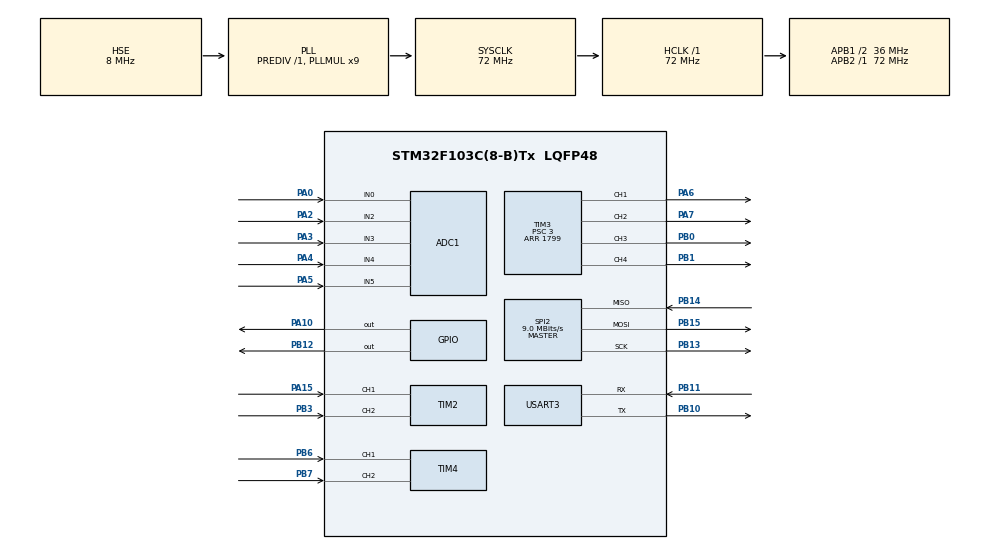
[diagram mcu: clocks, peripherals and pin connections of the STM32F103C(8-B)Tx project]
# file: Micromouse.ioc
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ADC1.Channel-0\#ChannelRegularConversion=ADC_CHANNEL_0
ADC1.Channel-1\#ChannelRegularConversion=ADC_CHANNEL_2
ADC1.Channel-2\#ChannelRegularConversion=ADC_CHANNEL_3
ADC1.Channel-3\#ChannelRegularConversion=ADC_CHANNEL_4
ADC1.Channel-4\#ChannelRegularConversion=ADC_CHANNEL_0
ADC1.NbrOfConversion=5
ADC1.NbrOfConversionFlag=1
ADC1.Rank-0\#ChannelRegularConversion=1
ADC1.Rank-1\#ChannelRegularConversion=2
ADC1.Rank-2\#ChannelRegularConversion=3
ADC1.Rank-3\#ChannelRegularConversion=4
ADC1.Rank-4\#ChannelRegularConversion=5
ADC1.SamplingTime-0\#ChannelRegularConversion=ADC_SAMPLETIME_239CYCLES_5
ADC1.SamplingTime-1\#ChannelRegularConversion=ADC_SAMPLETIME_71CYCLES_5
ADC1.SamplingTime-2\#ChannelRegularConversion=ADC_SAMPLETIME_71CYCLES_5
ADC1.SamplingTime-3\#ChannelRegularConversion=ADC_SAMPLETIME_71CYCLES_5
ADC1.SamplingTime-4\#ChannelRegularConversion=ADC_SAMPLETIME_71CYCLES_5
ADC1.master=1
Mcu.Family=STM32F1
Mcu.Name=STM32F103C(8-B)Tx
Mcu.Package=LQFP48
NVIC.PriorityGroup=NVIC_PRIORITYGROUP_4
NVIC.TIM1_UP_IRQn=true\:2\:0\:true\:false\:true\:true\:true\:true
PA0-WKUP.Signal=ADCx_IN0
PA10.Signal=GPIO_Output
PA13.Mode=Serial_Wire
PA13.Signal=SYS_JTMS-SWDIO
PA14.Mode=Serial_Wire
PA14.Signal=SYS_JTCK-SWCLK
PA15.GPIO_PuPd=GPIO_PULLUP
PA15.Signal=S_TIM2_CH1_ETR
PA2.Signal=ADCx_IN2
PA3.Signal=ADCx_IN3
PA4.Signal=ADCx_IN4
PA5.Signal=ADCx_IN5
PA6.Signal=S_TIM3_CH1
PA7.Signal=S_TIM3_CH2
PB0.Signal=S_TIM3_CH3
PB1.Signal=S_TIM3_CH4
PB10.Mode=Asynchronous
PB10.Signal=USART3_TX
PB11.Mode=Asynchronous
PB11.Signal=USART3_RX
PB12.Signal=GPIO_Output
PB13.Mode=Full_Duplex_Master
PB13.Signal=SPI2_SCK
PB14.Mode=Full_Duplex_Master
PB14.Signal=SPI2_MISO
PB15.Mode=Full_Duplex_Master
PB15.Signal=SPI2_MOSI
PB3.GPIO_PuPd=GPIO_PULLUP
PB3.Signal=S_TIM2_CH2
PB6.GPIO_PuPd=GPIO_PULLUP
PB6.Signal=S_TIM4_CH1
PB7.GPIO_PuPd=GPIO_PULLUP
PB7.Signal=S_TIM4_CH2
PD0-OSC_IN.Mode=HSE-External-Oscillator
PD0-OSC_IN.Signal=RCC_OSC_IN
PD1-OSC_OUT.Mode=HSE-External-Oscillator
PD1-OSC_OUT.Signal=RCC_OSC_OUT
ProjectManager.HeapSize=0x200
ProjectManager.StackSize=0x400
ProjectManager.TargetToolchain=MDK-ARM V5.32
RCC.ADCPresc=RCC_ADCPCLK2_DIV8
RCC.AHBFreq_Value=72000000
RCC.APB1CLKDivider=RCC_HCLK_DIV2
RCC.APB1Freq_Value=36000000
RCC.APB1TimFreq_Value=72000000
RCC.APB2Freq_Value=72000000
RCC.APB2TimFreq_Value=72000000
RCC.HCLKFreq_Value=72000000
RCC.PLLMUL=RCC_PLL_MUL9
RCC.PLLSourceVirtual=RCC_PLLSOURCE_HSE
RCC.SYSCLKFreq_VALUE=72000000
RCC.SYSCLKSource=RCC_SYSCLKSOURCE_PLLCLK
RCC.USBFreq_Value=72000000
SH.ADCx_IN0.0=ADC1_IN0,IN0
SH.ADCx_IN2.0=ADC1_IN2,IN2
SH.ADCx_IN3.0=ADC1_IN3,IN3
SH.ADCx_IN4.0=ADC1_IN4,IN4
SH.ADCx_IN5.0=ADC1_IN5,IN5
SH.S_TIM2_CH1_ETR.0=TIM2_CH1,Encoder_Interface
SH.S_TIM2_CH2.0=TIM2_CH2,Encoder_Interface
SH.S_TIM3_CH1.0=TIM3_CH1,PWM Generation1 CH1
SH.S_TIM3_CH2.0=TIM3_CH2,PWM Generation2 CH2
SH.S_TIM3_CH3.0=TIM3_CH3,PWM Generation3 CH3
SH.S_TIM3_CH4.0=TIM3_CH4,PWM Generation4 CH4
SH.S_TIM4_CH1.0=TIM4_CH1,Encoder_Interface
SH.S_TIM4_CH2.0=TIM4_CH2,Encoder_Interface
SPI2.BaudRatePrescaler=SPI_BAUDRATEPRESCALER_4
SPI2.CalculateBaudRate=9.0 MBits/s
SPI2.Direction=SPI_DIRECTION_2LINES
SPI2.Mode=SPI_MODE_MASTER
SPI2.VirtualType=VM_MASTER
TIM1.Period=999
TIM1.Prescaler=71
TIM2.EncoderMode=TIM_ENCODERMODE_TI12
TIM3.Channel-PWM\ Generation1\ CH1=TIM_CHANNEL_1
TIM3.Channel-PWM\ Generation2\ CH2=TIM_CHANNEL_2
TIM3.Channel-PWM\ Generation3\ CH3=TIM_CHANNEL_3
TIM3.Channel-PWM\ Generation4\ CH4=TIM_CHANNEL_4
TIM3.Period=1799
TIM3.Prescaler=3
TIM4.EncoderMode=TIM_ENCODERMODE_TI12
USART3.VirtualMode=VM_ASYNC
VP_TIM1_VS_ClockSourceINT.Mode=Internal
VP_TIM3_VS_ClockSourceINT.Mode=Internal
board=custom

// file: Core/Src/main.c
/* USER CODE BEGIN Header */
/**
  ******************************************************************************
  * @file           : main.c
  * @brief          : Main program body
  ******************************************************************************
  * @attention
  *
  * Copyright (c) 2026 STMicroelectronics.
  * All rights reserved.
  *
  * This software is licensed under terms that can be found in the LICENSE file
  * in the root directory of this software component.
  * If no LICENSE file comes with this software, it is provided AS-IS.
  *
  ******************************************************************************
  */
/* USER CODE END Header */
#include "main.h"

/* USER CODE BEGIN PM */
#define PWM_MAX     1799
#define PWM_MIN     200
#define SLOW_ZONE   300
#define STOP_EPS    20
#define Kp          26.7
#define Ki          0.25
#define Kd         0.000015
#define ONE_CELL    1450
#define CLAMP(x,min,max) ((x)<(min)?(min):((x)>(max)?(max):(x)))

/* USER CODE END PM */

ADC_HandleTypeDef hadc1;

SPI_HandleTypeDef hspi2;

TIM_HandleTypeDef htim1;
TIM_HandleTypeDef htim2;
TIM_HandleTypeDef htim3;
TIM_HandleTypeDef htim4;

UART_HandleTypeDef huart3;

/* USER CODE BEGIN PV */

volatile int16_t pwm_left = 0;
volatile int16_t pwm_right = 0;
volatile int16_t pwm_base = 1500;
volatile int32_t diff;

/* USER CODE END PV */

void SystemClock_Config(void);
static void MX_GPIO_Init(void);
static void MX_TIM3_Init(void);
static void MX_TIM1_Init(void);
static void MX_TIM2_Init(void);
static void MX_TIM4_Init(void);
static void MX_SPI2_Init(void);
static void MX_ADC1_Init(void);
static void MX_USART3_UART_Init(void);

/* USER CODE BEGIN 0 */

//PWM BEGIN
void Motor_Init()
{
    HAL_TIM_PWM_Start(&htim3,TIM_CHANNEL_1);
    HAL_TIM_PWM_Start(&htim3,TIM_CHANNEL_2);
    HAL_TIM_PWM_Start(&htim3,TIM_CHANNEL_3);
    HAL_TIM_PWM_Start(&htim3,TIM_CHANNEL_4);
}

void Motor_Left(int16_t ccrL)
{

    if(ccrL>0)
    {
        htim3.Instance->CCR1 = 0;
        htim3.Instance->CCR2 = ccrL;
    }
    else if(ccrL<0)
    {
        htim3.Instance->CCR1 = -ccrL;
        htim3.Instance->CCR2 = 0;
    }
    else
    {
        htim3.Instance->CCR1 = 1;
        htim3.Instance->CCR2 = 1;
    }
}

void Motor_Right(int16_t ccrR)
{

    if(ccrR>0)
    {
        htim3.Instance->CCR3 = 0;
        htim3.Instance->CCR4 = ccrR;
    }
    else if(ccrR<0)
    {
        htim3.Instance->CCR3 = -ccrR;
        htim3.Instance->CCR4 = 0;
    }
    else
    {
        htim3.Instance->CCR3 = 1;
        htim3.Instance->CCR4 = 1;
    }
}
//PWM END

// MPU 9250 BEGIN

//TIMER INTERUPT PID + MPU
	void HAL_TIM_PeriodElapsedCallback(TIM_HandleTypeDef *htim)
{
    if(htim->Instance == TIM1)
    {
        MPU_Update();
			  Update_Encoder();
    }
}
//MOVE
/*void Move_One_Cell(int32_t target_ticks, int16_t initial_pwm)
{
    int16_t pwm_base = CLAMP(initial_pwm, PWM_MIN, PWM_MAX);
    // Reset encoder
    __HAL_TIM_SET_COUNTER(&htim2, 0);
    __HAL_TIM_SET_COUNTER(&htim4, 0);
    int32_t encoder_left_last= 0;
		int32_t encoder_right_last= 0;

    while (1)
    {
        // ===== �?C ENCODER =====
			  int32_t encoder_left= Get_Encoder_Left();
				int32_t encoder_right= Get_Encoder_Right();
        total_encoder_left  += encoder_left - encoder_left_last;
        total_encoder_right += encoder_right - encoder_right_last;
	      encoder_left_last = encoder_left;
				encoder_right_last = encoder_right;

        int32_t delta_left  = target_ticks - total_encoder_left;   // ? int32_t
        int32_t delta_right = target_ticks - total_encoder_right;  // ? int32_t

        // ===== KI?M TRA �I?U KI?N D?NG =====
        if ((delta_left) <= STOP_EPS && delta_right <= (STOP_EPS))
        {
            Motor_Left(0);
            Motor_Right(0);
            break;
        }

        // ===== T�NH PWM CO B?N (GI?M T?C KHI G?N ��CH) =====
        int32_t min_delta = (delta_left < delta_right) ? delta_left : delta_right;

        if (min_delta < SLOW_ZONE)
        {
            pwm_base = PWM_MIN + ((initial_pwm - PWM_MIN) * min_delta) / SLOW_ZONE;
        }
        else
        {
            pwm_base = initial_pwm;
        }

        pwm_base = CLAMP(pwm_base, PWM_MIN, PWM_MAX);

        // ===== CH?NH TH?NG (ENCODER BALANCE) =====
				float error = 0.0f - angle_x;
				float last_error = 0;
				float integral = 0;
			  float derivative = 0;
				integral	+= error * 0.001f;
				derivative = (error - last_error) / 0.001f;

				float correction = Kp*error + Ki*integral + Kd*derivative;

				last_error = error;
			  pwm_left = pwm_base - correction;
			  pwm_right = pwm_base + correction;

				pwm_left = CLAMP(pwm_left, PWM_MIN, PWM_MAX);
				pwm_right = CLAMP(pwm_right, PWM_MIN, PWM_MAX);
        // ===== XU?T RA �?NG CO =====
        Motor_Left(pwm_left);
        Motor_Right(pwm_right);

        HAL_Delay(5);
    }

    // Reset encoder sau khi ch?y xong
    __HAL_TIM_SET_COUNTER(&htim2, 0);
    __HAL_TIM_SET_COUNTER(&htim4, 0);
}*/

/* USER CODE END 0 */

int main(void)
{

  /* MCU Configuration--------------------------------------------------------*/

  /* Reset of all peripherals, Initializes the Flash interface and the Systick. */
  HAL_Init();

  /* Configure the system clock */
  SystemClock_Config();

  /* Initialize all configured peripherals */
  MX_GPIO_Init();
  MX_TIM3_Init();
  MX_TIM1_Init();
  MX_TIM2_Init();
  MX_TIM4_Init();
  MX_SPI2_Init();
  MX_ADC1_Init();
  MX_USART3_UART_Init();
  /* USER CODE BEGIN 2 */
	Motor_Init();
	Encoder_Init();
	MPU_Init();
	HAL_GPIO_WritePin(GPIOB, GPIO_PIN_12, 1);
	MPU_Calibrate();
	HAL_TIM_Base_Start_IT(&htim1);
  /* USER CODE END 2 */

  /* Infinite loop */
  while (1)
  {

  }
}

void SystemClock_Config(void)
{
  RCC_OscInitTypeDef RCC_OscInitStruct = {0};
  RCC_ClkInitTypeDef RCC_ClkInitStruct = {0};
  RCC_PeriphCLKInitTypeDef PeriphClkInit = {0};

  /** Initializes the RCC Oscillators according to the specified parameters
  * in the RCC_OscInitTypeDef structure.
  */
  RCC_OscInitStruct.OscillatorType = RCC_OSCILLATORTYPE_HSE;
  RCC_OscInitStruct.HSEState = RCC_HSE_ON;
  RCC_OscInitStruct.HSEPredivValue = RCC_HSE_PREDIV_DIV1;
  RCC_OscInitStruct.HSIState = RCC_HSI_ON;
  RCC_OscInitStruct.PLL.PLLState = RCC_PLL_ON;
  RCC_OscInitStruct.PLL.PLLSource = RCC_PLLSOURCE_HSE;
  RCC_OscInitStruct.PLL.PLLMUL = RCC_PLL_MUL9;
  if (HAL_RCC_OscConfig(&RCC_OscInitStruct) != HAL_OK)
  {
    Error_Handler();
  }

  /** Initializes the CPU, AHB and APB buses clocks
  */
  RCC_ClkInitStruct.ClockType = RCC_CLOCKTYPE_HCLK|RCC_CLOCKTYPE_SYSCLK
                              |RCC_CLOCKTYPE_PCLK1|RCC_CLOCKTYPE_PCLK2;
  RCC_ClkInitStruct.SYSCLKSource = RCC_SYSCLKSOURCE_PLLCLK;
  RCC_ClkInitStruct.AHBCLKDivider = RCC_SYSCLK_DIV1;
  RCC_ClkInitStruct.APB1CLKDivider = RCC_HCLK_DIV2;
  RCC_ClkInitStruct.APB2CLKDivider = RCC_HCLK_DIV1;

  if (HAL_RCC_ClockConfig(&RCC_ClkInitStruct, FLASH_LATENCY_2) != HAL_OK)
  {
    Error_Handler();
  }
  PeriphClkInit.PeriphClockSelection = RCC_PERIPHCLK_ADC;
  PeriphClkInit.AdcClockSelection = RCC_ADCPCLK2_DIV8;
  if (HAL_RCCEx_PeriphCLKConfig(&PeriphClkInit) != HAL_OK)
  {
    Error_Handler();
  }
}

static void MX_ADC1_Init(void)
{

  ADC_ChannelConfTypeDef sConfig = {0};

  /** Common config
  */
  hadc1.Instance = ADC1;
  hadc1.Init.ScanConvMode = ADC_SCAN_ENABLE;
  hadc1.Init.ContinuousConvMode = DISABLE;
  hadc1.Init.DiscontinuousConvMode = DISABLE;
  hadc1.Init.ExternalTrigConv = ADC_SOFTWARE_START;
  hadc1.Init.DataAlign = ADC_DATAALIGN_RIGHT;
  hadc1.Init.NbrOfConversion = 5;
  if (HAL_ADC_Init(&hadc1) != HAL_OK)
  {
    Error_Handler();
  }

  /** Configure Regular Channel
  */
  sConfig.Channel = ADC_CHANNEL_0;
  sConfig.Rank = ADC_REGULAR_RANK_1;
  sConfig.SamplingTime = ADC_SAMPLETIME_239CYCLES_5;
  if (HAL_ADC_ConfigChannel(&hadc1, &sConfig) != HAL_OK)
  {
    Error_Handler();
  }

  /** Configure Regular Channel
  */
  sConfig.Channel = ADC_CHANNEL_2;
  sConfig.Rank = ADC_REGULAR_RANK_2;
  sConfig.SamplingTime = ADC_SAMPLETIME_71CYCLES_5;
  if (HAL_ADC_ConfigChannel(&hadc1, &sConfig) != HAL_OK)
  {
    Error_Handler();
  }

  /** Configure Regular Channel
  */
  sConfig.Channel = ADC_CHANNEL_3;
  sConfig.Rank = ADC_REGULAR_RANK_3;
  if (HAL_ADC_ConfigChannel(&hadc1, &sConfig) != HAL_OK)
  {
    Error_Handler();
  }

  /** Configure Regular Channel
  */
  sConfig.Channel = ADC_CHANNEL_4;
  sConfig.Rank = ADC_REGULAR_RANK_4;
  if (HAL_ADC_ConfigChannel(&hadc1, &sConfig) != HAL_OK)
  {
    Error_Handler();
  }

  /** Configure Regular Channel
  */
  sConfig.Channel = ADC_CHANNEL_0;
  sConfig.Rank = ADC_REGULAR_RANK_5;
  if (HAL_ADC_ConfigChannel(&hadc1, &sConfig) != HAL_OK)
  {
    Error_Handler();
  }

}

static void MX_SPI2_Init(void)
{

  /* SPI2 parameter configuration*/
  hspi2.Instance = SPI2;
  hspi2.Init.Mode = SPI_MODE_MASTER;
  hspi2.Init.Direction = SPI_DIRECTION_2LINES;
  hspi2.Init.DataSize = SPI_DATASIZE_8BIT;
  hspi2.Init.CLKPolarity = SPI_POLARITY_LOW;
  hspi2.Init.CLKPhase = SPI_PHASE_1EDGE;
  hspi2.Init.NSS = SPI_NSS_SOFT;
  hspi2.Init.BaudRatePrescaler = SPI_BAUDRATEPRESCALER_4;
  hspi2.Init.FirstBit = SPI_FIRSTBIT_MSB;
  hspi2.Init.TIMode = SPI_TIMODE_DISABLE;
  hspi2.Init.CRCCalculation = SPI_CRCCALCULATION_DISABLE;
  hspi2.Init.CRCPolynomial = 10;
  if (HAL_SPI_Init(&hspi2) != HAL_OK)
  {
    Error_Handler();
  }

}

static void MX_TIM1_Init(void)
{

  TIM_ClockConfigTypeDef sClockSourceConfig = {0};
  TIM_MasterConfigTypeDef sMasterConfig = {0};

  htim1.Instance = TIM1;
  htim1.Init.Prescaler = 71;
  htim1.Init.CounterMode = TIM_COUNTERMODE_UP;
  htim1.Init.Period = 999;
  htim1.Init.ClockDivision = TIM_CLOCKDIVISION_DIV1;
  htim1.Init.RepetitionCounter = 0;
  htim1.Init.AutoReloadPreload = TIM_AUTORELOAD_PRELOAD_DISABLE;
  if (HAL_TIM_Base_Init(&htim1) != HAL_OK)
  {
    Error_Handler();
  }
  sClockSourceConfig.ClockSource = TIM_CLOCKSOURCE_INTERNAL;
  if (HAL_TIM_ConfigClockSource(&htim1, &sClockSourceConfig) != HAL_OK)
  {
    Error_Handler();
  }
  sMasterConfig.MasterOutputTrigger = TIM_TRGO_RESET;
  sMasterConfig.MasterSlaveMode = TIM_MASTERSLAVEMODE_DISABLE;
  if (HAL_TIMEx_MasterConfigSynchronization(&htim1, &sMasterConfig) != HAL_OK)
  {
    Error_Handler();
  }

}

static void MX_TIM2_Init(void)
{

  TIM_Encoder_InitTypeDef sConfig = {0};
  TIM_MasterConfigTypeDef sMasterConfig = {0};

  htim2.Instance = TIM2;
  htim2.Init.Prescaler = 0;
  htim2.Init.CounterMode = TIM_COUNTERMODE_UP;
  htim2.Init.Period = 65535;
  htim2.Init.ClockDivision = TIM_CLOCKDIVISION_DIV1;
  htim2.Init.AutoReloadPreload = TIM_AUTORELOAD_PRELOAD_DISABLE;
  sConfig.EncoderMode = TIM_ENCODERMODE_TI12;
  sConfig.IC1Polarity = TIM_ICPOLARITY_RISING;
  sConfig.IC1Selection = TIM_ICSELECTION_DIRECTTI;
  sConfig.IC1Prescaler = TIM_ICPSC_DIV1;
  sConfig.IC1Filter = 0;
  sConfig.IC2Polarity = TIM_ICPOLARITY_RISING;
  sConfig.IC2Selection = TIM_ICSELECTION_DIRECTTI;
  sConfig.IC2Prescaler = TIM_ICPSC_DIV1;
  sConfig.IC2Filter = 0;
  if (HAL_TIM_Encoder_Init(&htim2, &sConfig) != HAL_OK)
  {
    Error_Handler();
  }
  sMasterConfig.MasterOutputTrigger = TIM_TRGO_RESET;
  sMasterConfig.MasterSlaveMode = TIM_MASTERSLAVEMODE_DISABLE;
  if (HAL_TIMEx_MasterConfigSynchronization(&htim2, &sMasterConfig) != HAL_OK)
  {
    Error_Handler();
  }

}

static void MX_TIM3_Init(void)
{

  TIM_ClockConfigTypeDef sClockSourceConfig = {0};
  TIM_MasterConfigTypeDef sMasterConfig = {0};
  TIM_OC_InitTypeDef sConfigOC = {0};

  htim3.Instance = TIM3;
  htim3.Init.Prescaler = 3;
  htim3.Init.CounterMode = TIM_COUNTERMODE_UP;
  htim3.Init.Period = 1799;
  htim3.Init.ClockDivision = TIM_CLOCKDIVISION_DIV1;
  htim3.Init.AutoReloadPreload = TIM_AUTORELOAD_PRELOAD_DISABLE;
  if (HAL_TIM_Base_Init(&htim3) != HAL_OK)
  {
    Error_Handler();
  }
  sClockSourceConfig.ClockSource = TIM_CLOCKSOURCE_INTERNAL;
  if (HAL_TIM_ConfigClockSource(&htim3, &sClockSourceConfig) != HAL_OK)
  {
    Error_Handler();
  }
  if (HAL_TIM_PWM_Init(&htim3) != HAL_OK)
  {
    Error_Handler();
  }
  sMasterConfig.MasterOutputTrigger = TIM_TRGO_RESET;
  sMasterConfig.MasterSlaveMode = TIM_MASTERSLAVEMODE_DISABLE;
  if (HAL_TIMEx_MasterConfigSynchronization(&htim3, &sMasterConfig) != HAL_OK)
  {
    Error_Handler();
  }
  sConfigOC.OCMode = TIM_OCMODE_PWM1;
  sConfigOC.Pulse = 0;
  sConfigOC.OCPolarity = TIM_OCPOLARITY_HIGH;
  sConfigOC.OCFastMode = TIM_OCFAST_DISABLE;
  if (HAL_TIM_PWM_ConfigChannel(&htim3, &sConfigOC, TIM_CHANNEL_1) != HAL_OK)
  {
    Error_Handler();
  }
  if (HAL_TIM_PWM_ConfigChannel(&htim3, &sConfigOC, TIM_CHANNEL_2) != HAL_OK)
  {
    Error_Handler();
  }
  if (HAL_TIM_PWM_ConfigChannel(&htim3, &sConfigOC, TIM_CHANNEL_3) != HAL_OK)
  {
    Error_Handler();
  }
  if (HAL_TIM_PWM_ConfigChannel(&htim3, &sConfigOC, TIM_CHANNEL_4) != HAL_OK)
  {
    Error_Handler();
  }
  HAL_TIM_MspPostInit(&htim3);

}

static void MX_TIM4_Init(void)
{

  TIM_Encoder_InitTypeDef sConfig = {0};
  TIM_MasterConfigTypeDef sMasterConfig = {0};

  htim4.Instance = TIM4;
  htim4.Init.Prescaler = 0;
  htim4.Init.CounterMode = TIM_COUNTERMODE_UP;
  htim4.Init.Period = 65535;
  htim4.Init.ClockDivision = TIM_CLOCKDIVISION_DIV1;
  htim4.Init.AutoReloadPreload = TIM_AUTORELOAD_PRELOAD_DISABLE;
  sConfig.EncoderMode = TIM_ENCODERMODE_TI12;
  sConfig.IC1Polarity = TIM_ICPOLARITY_RISING;
  sConfig.IC1Selection = TIM_ICSELECTION_DIRECTTI;
  sConfig.IC1Prescaler = TIM_ICPSC_DIV1;
  sConfig.IC1Filter = 0;
  sConfig.IC2Polarity = TIM_ICPOLARITY_RISING;
  sConfig.IC2Selection = TIM_ICSELECTION_DIRECTTI;
  sConfig.IC2Prescaler = TIM_ICPSC_DIV1;
  sConfig.IC2Filter = 0;
  if (HAL_TIM_Encoder_Init(&htim4, &sConfig) != HAL_OK)
  {
    Error_Handler();
  }
  sMasterConfig.MasterOutputTrigger = TIM_TRGO_RESET;
  sMasterConfig.MasterSlaveMode = TIM_MASTERSLAVEMODE_DISABLE;
  if (HAL_TIMEx_MasterConfigSynchronization(&htim4, &sMasterConfig) != HAL_OK)
  {
    Error_Handler();
  }

}

static void MX_USART3_UART_Init(void)
{

  huart3.Instance = USART3;
  huart3.Init.BaudRate = 115200;
  huart3.Init.WordLength = UART_WORDLENGTH_8B;
  huart3.Init.StopBits = UART_STOPBITS_1;
  huart3.Init.Parity = UART_PARITY_NONE;
  huart3.Init.Mode = UART_MODE_TX_RX;
  huart3.Init.HwFlowCtl = UART_HWCONTROL_NONE;
  huart3.Init.OverSampling = UART_OVERSAMPLING_16;
  if (HAL_UART_Init(&huart3) != HAL_OK)
  {
    Error_Handler();
  }

}

static void MX_GPIO_Init(void)
{
  GPIO_InitTypeDef GPIO_InitStruct = {0};

  /* GPIO Ports Clock Enable */
  __HAL_RCC_GPIOD_CLK_ENABLE();
  __HAL_RCC_GPIOA_CLK_ENABLE();
  __HAL_RCC_GPIOB_CLK_ENABLE();

  /*Configure GPIO pin Output Level */
  HAL_GPIO_WritePin(GPIOB, GPIO_PIN_12, GPIO_PIN_RESET);

  /*Configure GPIO pin Output Level */
  HAL_GPIO_WritePin(GPIOA, GPIO_PIN_10, GPIO_PIN_RESET);

  /*Configure GPIO pin : PB12 */
  GPIO_InitStruct.Pin = GPIO_PIN_12;
  GPIO_InitStruct.Mode = GPIO_MODE_OUTPUT_PP;
  GPIO_InitStruct.Pull = GPIO_NOPULL;
  GPIO_InitStruct.Speed = GPIO_SPEED_FREQ_LOW;
  HAL_GPIO_Init(GPIOB, &GPIO_InitStruct);

  /*Configure GPIO pin : PA10 */
  GPIO_InitStruct.Pin = GPIO_PIN_10;
  GPIO_InitStruct.Mode = GPIO_MODE_OUTPUT_PP;
  GPIO_InitStruct.Pull = GPIO_NOPULL;
  GPIO_InitStruct.Speed = GPIO_SPEED_FREQ_LOW;
  HAL_GPIO_Init(GPIOA, &GPIO_InitStruct);

}

void Error_Handler(void)
{
  __disable_irq();
  while (1)
  {
  }
}
